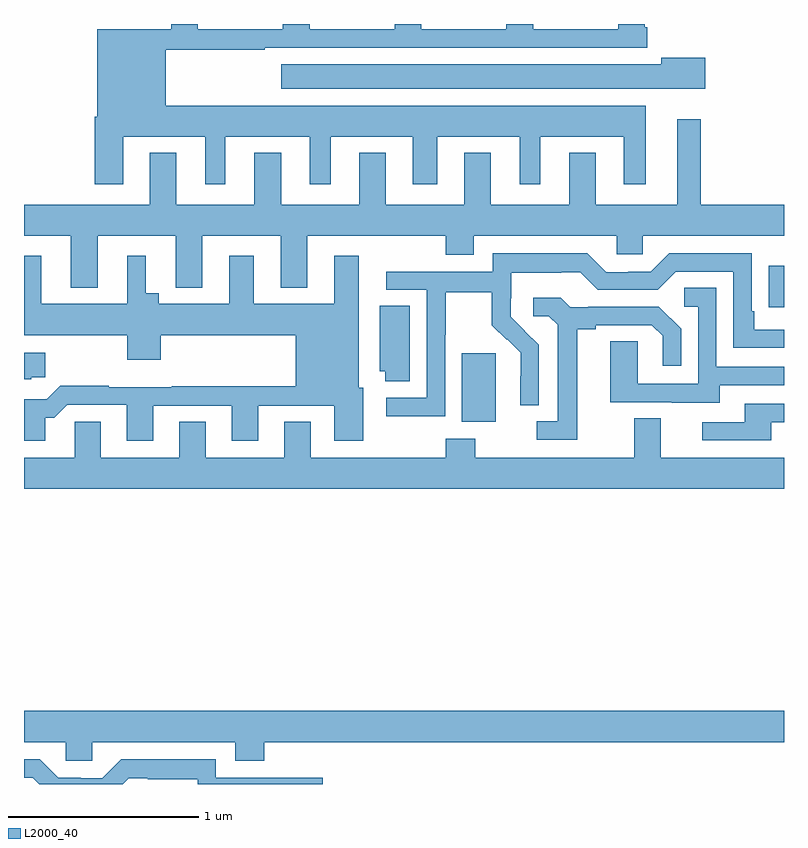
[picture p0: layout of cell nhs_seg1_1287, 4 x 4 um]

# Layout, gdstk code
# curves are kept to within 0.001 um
import gdstk
lib = gdstk.Library(unit=1e-6, precision=1e-09)
def R(c, l, rs):  # rectangles x0, y0, x1, y1
    for r in rs: c.add(gdstk.rectangle(r[:2], r[2:], *l))
def P(c, l, *ps):  # polygons
    for p in ps: c.add(gdstk.Polygon(p, *l))
L2000_40 = (2000, 40)

nhs_seg1_1287 = lib.new_cell('nhs_seg1_1287')
R(nhs_seg1_1287, L2000_40, [(183.305,532.106,183.484,532.467), (184.921,532.708,185,532.927)])
P(nhs_seg1_1287, L2000_40, [(181.522,533.606),(181.955,533.606),(181.955,533.355),(182.059,533.355),(182.059,533.606),(182.504,533.606),(182.504,533.355),(182.614,533.355),(182.614,533.606),(183.047,533.606),(183.047,533.355),(183.175,533.355),(183.175,533.606),(183.608,533.606),(183.608,533.355),(183.718,533.355),(183.718,533.606),(184.157,533.606),(184.157,533.355),(184.273,533.355),(184.273,533.77),(181.747,533.77),(181.747,534.063),(182.267,534.063),(182.267,534.075),(184.28,534.075),(184.28,534.183),(184.267,534.183),(184.267,534.199),(184.127,534.199),(184.127,534.171),(183.679,534.171),(183.679,534.199),(183.539,534.199),(183.539,534.171),(183.091,534.171),(183.091,534.199),(182.951,534.199),(182.951,534.171),(182.503,534.171),(182.503,534.199),(182.363,534.199),(182.363,534.171),(181.915,534.171),(181.915,534.199),(181.775,534.199),(181.775,534.172),(181.385,534.172),(181.385,533.71),(181.373,533.71),(181.373,533.355),(181.522,533.355)],
  [(184.585,534.022),(184.355,534.022),(184.355,533.986),(182.355,533.986),(182.355,533.858),(184.585,533.858)],
  [(181.801,533.521),(181.661,533.521),(181.661,533.248),(181,533.248),(181,533.084),(181.247,533.084),(181.247,532.811),(181.387,532.811),(181.387,533.084),(181.799,533.084),(181.799,532.811),(181.939,532.811),(181.939,533.084),(182.351,533.084),(182.351,532.811),(182.491,532.811),(182.491,533.084),(183.22,533.084),(183.22,532.985),(183.367,532.985),(183.367,533.084),(184.119,533.084),(184.119,532.986),(184.257,532.986),(184.257,533.084),(185,533.084),(185,533.248),(184.561,533.248),(184.561,533.698),(184.439,533.698),(184.439,533.248),(184.009,533.248),(184.009,533.521),(183.869,533.521),(183.869,533.248),(183.457,533.248),(183.457,533.521),(183.317,533.521),(183.317,533.248),(182.905,533.248),(182.905,533.521),(182.765,533.521),(182.765,533.248),(182.353,533.248),(182.353,533.521),(182.213,533.521),(182.213,533.248),(181.801,533.248)],
  [(183.216,532.564),(183.219,532.564),(183.219,532.788),(183.463,532.788),(183.463,532.613),(183.54,532.536),(183.543,532.539),(183.614,532.469),(183.614,532.346),(183.612,532.346),(183.612,532.192),(183.708,532.192),(183.708,532.51),(183.562,532.658),(183.562,532.755),(183.564,532.755),(183.564,532.889),(183.827,532.889),(183.827,532.893),(183.927,532.893),(184.02,532.8),(184.335,532.8),(184.431,532.896),(184.734,532.896),(184.734,532.494),(185,532.494),(185,532.59),(184.843,532.59),(184.843,532.687),(184.83,532.687),(184.83,532.992),(184.395,532.992),(184.299,532.896),(184.181,532.896),(184.181,532.893),(184.065,532.893),(183.965,532.993),(183.468,532.993),(183.468,532.896),(182.907,532.896),(182.907,532.8),(183.12,532.8),(183.12,532.233),(182.907,532.233),(182.907,532.135),(183.216,532.135)],
  [(181.111,532.127),(181.16,532.127),(181.227,532.194),(181.541,532.194),(181.541,532.005),(181.681,532.005),(181.681,532.191),(182.093,532.191),(182.093,532.005),(182.233,532.005),(182.233,532.191),(182.633,532.191),(182.633,532.005),(182.785,532.005),(182.785,532.284),(182.761,532.284),(182.761,532.978),(182.633,532.978),(182.633,532.726),(182.209,532.726),(182.209,532.978),(182.081,532.978),(182.081,532.726),(181.708,532.726),(181.708,532.783),(181.642,532.783),(181.642,532.978),(181.544,532.978),(181.544,532.726),(181.09,532.726),(181.09,532.978),(181,532.978),(181,532.562),(181.543,532.562),(181.543,532.431),(181.721,532.431),(181.721,532.562),(182.429,532.562),(182.429,532.292),(181.777,532.292),(181.777,532.288),(181.445,532.288),(181.445,532.295),(181.19,532.295),(181.119,532.224),(181,532.224),(181,532.005),(181.111,532.005)],
  [(184.663,532.299),(185,532.299),(185,532.395),(184.644,532.395),(184.644,532.811),(184.476,532.811),(184.476,532.71),(184.548,532.71),(184.548,532.305),(184.23,532.305),(184.23,532.529),(184.085,532.529),(184.085,532.209),(184.409,532.209),(184.409,532.205),(184.663,532.205)],
  [(183.913,532.592),(184.009,532.592),(184.009,532.614),(184.304,532.614),(184.361,532.557),(184.361,532.401),(184.458,532.401),(184.458,532.594),(184.342,532.71),(183.97,532.71),(183.97,532.707),(183.876,532.707),(183.824,532.759),(183.681,532.759),(183.681,532.662),(183.762,532.662),(183.809,532.615),(183.809,532.107),(183.699,532.107),(183.699,532.011),(183.913,532.011)],
  [(183.031,532.715),(182.873,532.715),(182.873,532.371),(182.9,532.371),(182.9,532.318),(183.031,532.318)],
  [(181.038,532.339),(181.111,532.339),(181.111,532.468),(181,532.468),(181,532.328),(181.038,532.328)],
  [(184.933,532.104),(185,532.104),(185,532.2),(184.793,532.2),(184.793,532.104),(184.569,532.104),(184.569,532.008),(184.933,532.008)],
  [(185,531.916),(184.351,531.916),(184.351,532.124),(184.211,532.124),(184.211,531.916),(183.375,531.916),(183.375,532.015),(183.22,532.015),(183.22,531.916),(182.509,531.916),(182.509,532.106),(182.369,532.106),(182.369,531.916),(181.957,531.916),(181.957,532.106),(181.817,532.106),(181.817,531.916),(181.405,531.916),(181.405,532.106),(181.266,532.106),(181.266,531.916),(181,531.916),(181,531.752),(185,531.752)],
  [(182.264,530.42),(185,530.42),(185,530.584),(181,530.584),(181,530.42),(181.221,530.42),(181.221,530.322),(181.359,530.322),(181.359,530.42),(182.111,530.42),(182.111,530.321),(182.264,530.321)],
  [(181.551,530.229),(181.651,530.229),(181.651,530.225),(181.914,530.225),(181.914,530.199),(182.572,530.199),(182.572,530.232),(182.01,530.232),(182.01,530.329),(181.513,530.329),(181.413,530.229),(181.298,530.229),(181.298,530.232),(181.179,530.232),(181.083,530.328),(181,530.328),(181,530.232),(181.047,530.232),(181.08,530.199),(181.521,530.199)])

lib.write_gds('nhs_seg1_1287.gds')
